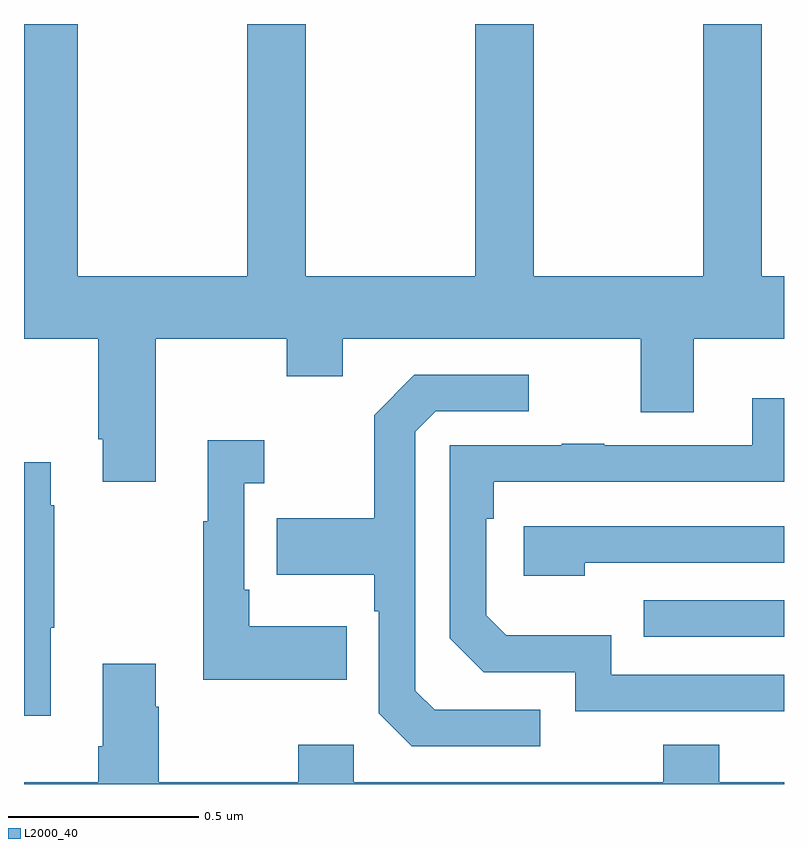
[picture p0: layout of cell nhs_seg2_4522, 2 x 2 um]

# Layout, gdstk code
import gdstk
lib = gdstk.Library(unit=1e-6, precision=1e-09)
def R(c, l, rs):  # rectangles x0, y0, x1, y1
    for r in rs: c.add(gdstk.rectangle(r[:2], r[2:], *l))
def P(c, l, *ps):  # polygons
    for p in ps: c.add(gdstk.Polygon(p, *l))
L2000_40 = (2000, 40)

nhs_seg2_4522 = lib.new_cell('nhs_seg2_4522')
R(nhs_seg2_4522, L2000_40, [(168.631,644.187,169,644.283)])
P(nhs_seg2_4522, L2000_40, [(167.347,644.972),(167.692,644.972),(167.692,644.873),(167.839,644.873),(167.839,644.972),(168.623,644.972),(168.623,644.778),(168.763,644.778),(168.763,644.972),(169,644.972),(169,645.136),(168.942,645.136),(168.942,645.8),(168.787,645.8),(168.787,645.136),(168.342,645.136),(168.342,645.8),(168.187,645.8),(168.187,645.136),(167.742,645.136),(167.742,645.8),(167.587,645.8),(167.587,645.136),(167.142,645.136),(167.142,645.8),(167,645.8),(167,644.972),(167.195,644.972),(167.195,644.707),(167.207,644.707),(167.207,644.595),(167.347,644.595)],
  [(168.358,643.995),(168.081,643.995),(168.03,644.046),(168.03,644.727),(168.084,644.781),(168.328,644.781),(168.328,644.877),(168.027,644.877),(167.922,644.771),(167.922,644.499),(167.665,644.499),(167.665,644.351),(167.922,644.351),(167.922,644.255),(167.934,644.255),(167.934,643.986),(168.021,643.899),(168.358,643.899)],
  [(169,644.088),(168.546,644.088),(168.546,644.191),(168.269,644.191),(168.216,644.244),(168.216,644.498),(168.236,644.498),(168.236,644.595),(168.911,644.595),(168.911,644.596),(169,644.596),(169,644.815),(168.917,644.815),(168.917,644.691),(168.527,644.691),(168.527,644.696),(168.415,644.696),(168.415,644.691),(168.12,644.691),(168.12,644.184),(168.21,644.094),(168.45,644.094),(168.45,643.992),(169,643.992)],
  [(167.849,644.215),(167.593,644.215),(167.593,644.311),(167.58,644.311),(167.58,644.591),(167.632,644.591),(167.632,644.704),(167.483,644.704),(167.483,644.491),(167.472,644.491),(167.472,644.075),(167.849,644.075)],
  [(167.071,644.211),(167.079,644.211),(167.079,644.534),(167.071,644.534),(167.071,644.647),(167,644.647),(167,643.98),(167.071,643.98)],
  [(168.476,644.382),(169,644.382),(169,644.478),(168.315,644.478),(168.315,644.348),(168.476,644.348)],
  [(169,643.804),(168.829,643.804),(168.829,643.903),(168.682,643.903),(168.682,643.804),(167.868,643.804),(167.868,643.903),(167.722,643.903),(167.722,643.804),(167.355,643.804),(167.355,644.003),(167.347,644.003),(167.347,644.116),(167.207,644.116),(167.207,643.9),(167.195,643.9),(167.195,643.804),(167,643.804),(167,643.8),(169,643.8)])

lib.write_gds('nhs_seg2_4522.gds')
